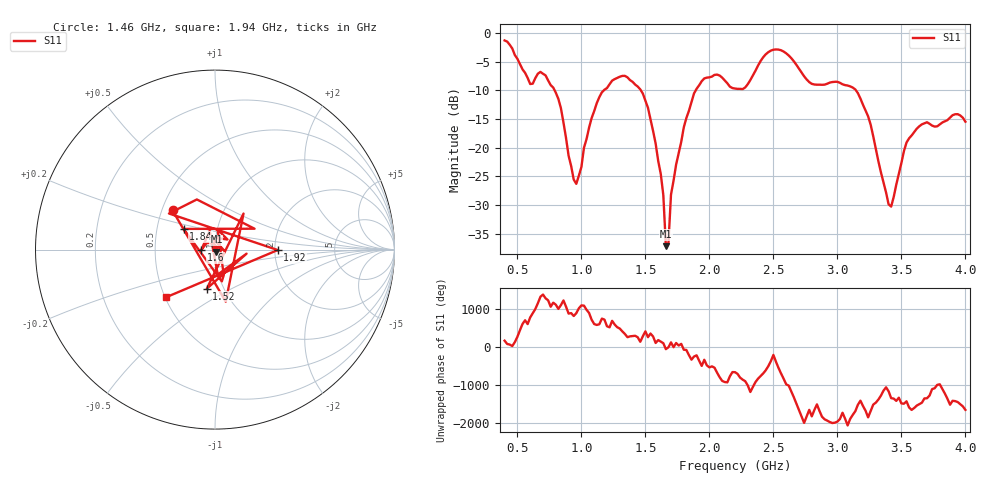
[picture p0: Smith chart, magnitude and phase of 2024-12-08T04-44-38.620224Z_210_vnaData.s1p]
!Created with skrf (http://scikit-rf.org).
# Hz S RI R 50.0
!freq ReS11 ImS11
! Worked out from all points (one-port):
!   181 points, 400 MHz to 4 GHz, reference 50 ohm
!   lowest |S11| = -37.1 dB at 1.66 GHz (marker M1), VSWR 1.03, Z = 50.8 - j1.18 ohm
!   |S11| at or under -10 dB: 790.6 MHz to 1.176 GHz (385.2 MHz wide, 39.2 % of centre); 1.464 GHz to 1.893 GHz (429.2 MHz wide, 25.6 % of centre); 3.144 GHz to end of sweep
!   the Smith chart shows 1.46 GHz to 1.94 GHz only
!   S11 on the Smith chart (normalised r, x): 1.46 GHz: 0.57, +0.28; 1.52 GHz: 0.83, -0.38; 1.6 GHz: 0.86, -0.00; 1.84 GHz: 0.69, +0.17; 1.92 GHz: 2.07, -0.01; 1.94 GHz: 0.51, -0.31
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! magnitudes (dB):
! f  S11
! 400 MHz  -1.3
! 600 MHz  -8.9
! 720 MHz  -7.4
! 860 MHz  -15.6
! 960 MHz  -26.3
! 1.12 GHz  -12.2
! 1.3 GHz  -7.6
! 1.46 GHz  -9.8
! 1.52 GHz  -13.0
! 1.6 GHz  -22.3
! 1.64 GHz  -28.2
! 1.66 GHz  -37.1
! 1.68 GHz  -36.6
! 1.7 GHz  -28.2
! 1.76 GHz  -21.0
! 1.84 GHz  -13.6
! 1.92 GHz  -9.1
! 1.94 GHz  -8.4
! 2.2 GHz  -9.7
! 2.48 GHz  -3.1
! 2.66 GHz  -5.0
! 2.8 GHz  -8.9
! 3.1 GHz  -9.3
! 3.24 GHz  -14.5
! 3.42 GHz  -30.2
! 3.56 GHz  -18.4
! 3.7 GHz  -15.6
! 4 GHz  -15.5
